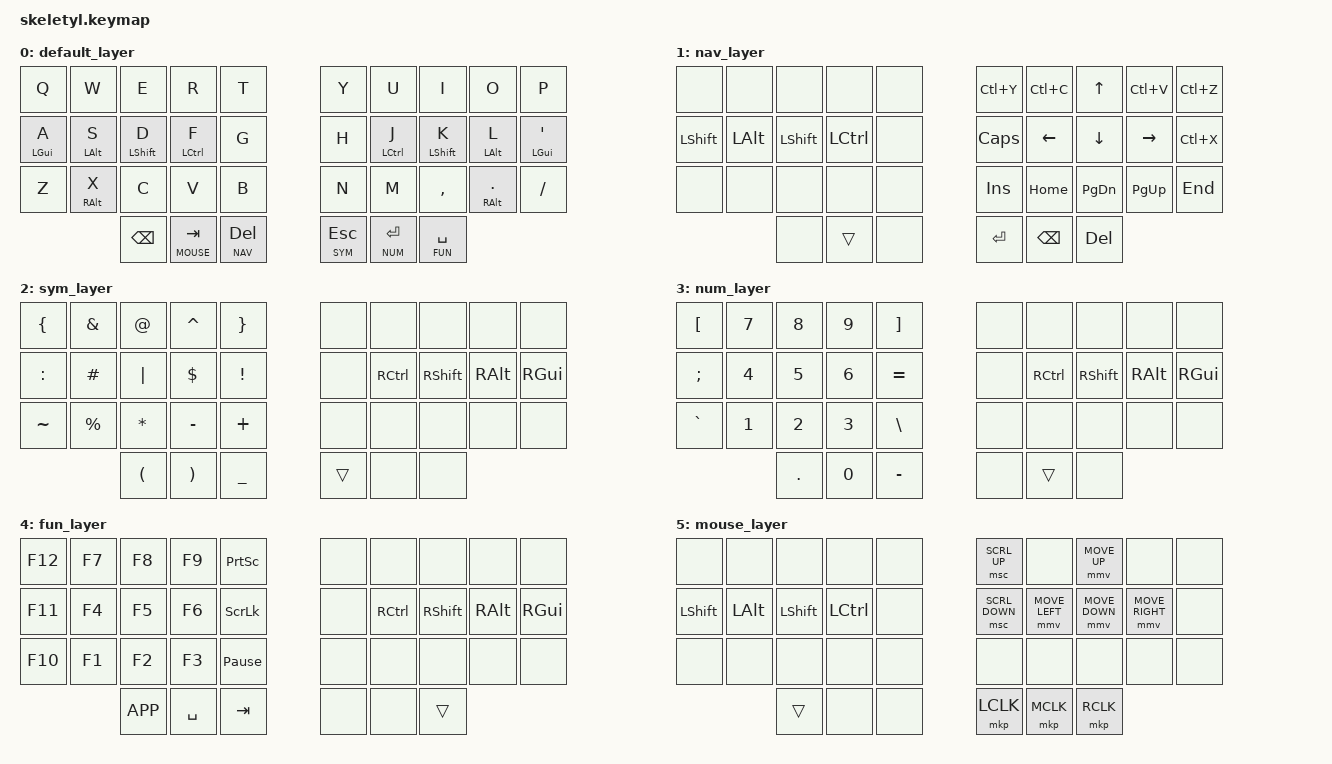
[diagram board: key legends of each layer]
#include <behaviors.dtsi>
#include <dt-bindings/zmk/keys.h>
#include <dt-bindings/zmk/pointing.h>

// The default keymap is roughly on Miryoku layout
// (https://github.com/manna-harbour/miryoku).
// Customize on your own on the config folder.

#define BASE    0
#define NAV     1
#define SYM     2
#define NUM     3
#define FUN     4
#define MOUSE   5

/ {
    behaviors {
        // Left-hand home-row mods:
        // same-hand rolls resolve as taps; opposite-hand chords can become holds.
        hml: homerow_mod_left {
            compatible = "zmk,behavior-hold-tap";
            label = "HOMEROW_MOD_LEFT";
            #binding-cells = <2>;

            flavor = "balanced";
            tapping-term-ms = <280>;
            quick-tap-ms = <175>;
            require-prior-idle-ms = <150>;

            bindings = <&kp>, <&kp>;

            // Right-hand keys + right thumb cluster.
            hold-trigger-key-positions = <
                5 6 7 8 9
                15 16 17 18 19
                25 26 27 28 29
                33 34 35
            >;
            hold-trigger-on-release;
        };

        // Right-hand home-row mods:
        // same-hand rolls resolve as taps; opposite-hand chords can become holds.
        hmr: homerow_mod_right {
            compatible = "zmk,behavior-hold-tap";
            label = "HOMEROW_MOD_RIGHT";
            #binding-cells = <2>;

            flavor = "balanced";
            tapping-term-ms = <280>;
            quick-tap-ms = <175>;
            require-prior-idle-ms = <150>;

            bindings = <&kp>, <&kp>;

            // Left-hand keys + left thumb cluster.
            hold-trigger-key-positions = <
                0 1 2 3 4
                10 11 12 13 14
                20 21 22 23 24
                30 31 32
            >;
            hold-trigger-on-release;
        };
    };

    keymap {
        compatible = "zmk,keymap";

        default_layer {
            bindings = <
    &kp Q       &kp W       &kp E       &kp R       &kp T                                   &kp Y           &kp U       &kp I       &kp O           &kp P
    &hml LGUI A &hml LALT S &hml LSHFT D  &hml LCTRL F  &kp G                                   &kp H           &hmr LCTRL J &hmr LSHFT K &hmr LALT L     &hmr LGUI SQT
    &kp Z       &hml RALT X &kp C       &kp V       &kp B                                   &kp N           &kp M       &kp COMMA   &hmr RALT DOT   &kp FSLH
                                        &kp BSPC       &lt MOUSE TAB  &lt NAV DEL  &lt SYM ESC   &lt NUM RET     &lt FUN SPACE
            >;
        };

        nav_layer {
            bindings = <
    &none       &none       &none       &none       &none                           &kp LC(Y)    &kp LC(C)   &kp UP      &kp LC(V)   &kp LC(Z)
    &kp LSHFT   &kp LALT    &kp LSHFT   &kp LCTRL   &none                           &kp CAPS    &kp LEFT    &kp DOWN    &kp RIGHT   &kp LC(X)
    &none       &none       &none       &none       &none                           &kp INS     &kp HOME    &kp PG_DN   &kp PG_UP   &kp END
                                        &none       &trans  &none       &kp RET     &kp BSPC    &kp DEL     
            >;
        };

        sym_layer {
            bindings = <
    &kp LBRC    &kp AMPS    &kp AT      &kp CARET  &kp RBRC                     &none       &none       &none       &none       &none
    &kp COLON   &kp HASH    &kp PIPE    &kp DLLR   &kp EXCL                     &none       &kp RCTRL   &kp RSHFT   &kp RALT    &kp RGUI
    &kp TILDE   &kp PRCNT   &kp STAR    &kp MINUS  &kp PLUS                     &none       &none       &none       &none       &none
                                        &kp LPAR   &kp RPAR &kp UNDER   &trans  &none       &none
            >;
        };

        num_layer {
            bindings = <
    &kp LBKT    &kp N7  &kp N8  &kp N9  &kp RBKT                        &none   &none       &none       &none       &none
    &kp SEMI    &kp N4  &kp N5  &kp N6  &kp EQUAL                       &none   &kp RCTRL   &kp RSHFT   &kp RALT    &kp RGUI
    &kp GRAVE   &kp N1  &kp N2  &kp N3  &kp BSLH                        &none   &none       &none       &none       &none
                                &kp DOT &kp N0      &kp MINUS   &none   &trans  &none
            >;
        };

        fun_layer {
            bindings = <
    &kp F12 &kp F7  &kp F8  &kp F9      &kp PSCRN                           &none   &none       &none       &none       &none
    &kp F11 &kp F4  &kp F5  &kp F6      &kp SLCK                            &none   &kp RCTRL   &kp RSHFT   &kp RALT    &kp RGUI
    &kp F10 &kp F1  &kp F2  &kp F3      &kp PAUSE_BREAK                     &none   &none       &none       &none       &none
                            &kp K_APP   &kp SPACE       &kp TAB     &none   &none   &trans
            >;
        };

        mouse_layer {
            bindings = <
    &none       &none       &none       &none       &none                           &msc SCRL_UP    &none           &mmv MOVE_UP    &none           &none
    &kp LSHFT   &kp LALT    &kp LSHFT   &kp LCTRL   &none                           &msc SCRL_DOWN  &mmv MOVE_LEFT &mmv MOVE_DOWN  &mmv MOVE_RIGHT &none
    &none       &none       &none       &none       &none                           &none           &none           &none           &none           &none
                                        &trans      &none   &none       &mkp LCLK   &mkp MCLK       &mkp RCLK
            >;
        };
    };
};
